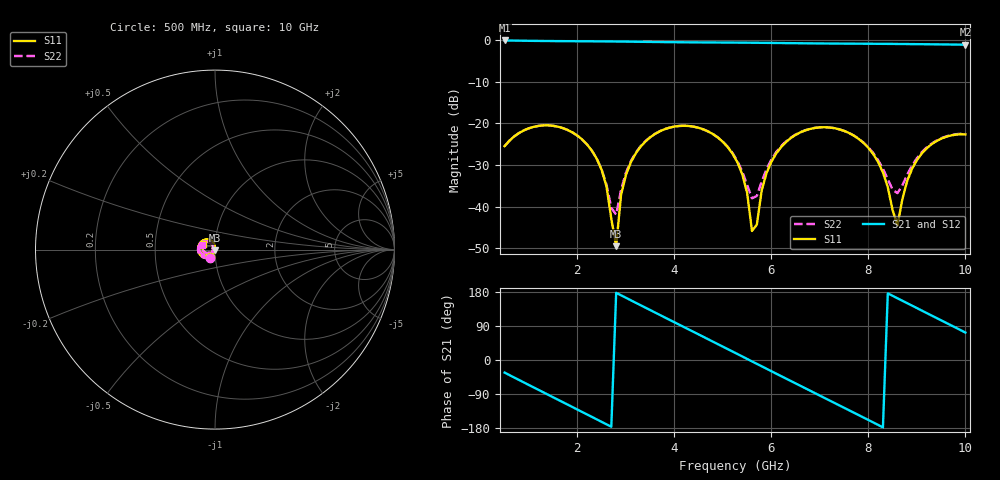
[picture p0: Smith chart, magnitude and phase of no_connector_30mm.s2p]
! Touchstone file exported from HFSS 3D Layout Design 2026.1.0
!  File:  D:/Work/ADS/HFSS_VERDICT/hfss_sma_connector_cpw.aedt
!  Generated:  07:53:57 PM Aug  5, 2026
!  Design:  IDEAL_50R_CPW_30MM
!  Project:  hfss_sma_connector_cpw
! Variables:
!  $sma_Base_D = 6.25mm
!  $sma_Base_L = 8mm
!  $sma_Feet_L = 4mm
!  $sma_Feet_W = 1mm
!  $sma_Front_L = 1.5mm
!  $sma_Front_W = 6.5mm
!  $sma_Hole_D = 1.25mm
!  $sma_PTFE_D = 4.2mm
!  $sma_Pin_D = 0.95mm
!  $sma_Pin_P = 1.7mm
# GHz S MA R 50.000000
! Terminal data exported
! Port[1] = Port1
! Port[2] = Port2
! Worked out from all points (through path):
!   96 points, 500 MHz to 10 GHz, reference 50 ohm
!   highest |S21| = -0.10 dB at 500 MHz (marker M1); lowest = -1.1 dB at 10 GHz (marker M2)
!   group delay of S21, straight-line fit = 179 ps
!   lowest |S11| = -49.5 dB at 2.8 GHz (marker M3), VSWR 1.01, Z = 49.9 - j0.321 ohm
!   |S11| at or under -10 dB: start of sweep to end of sweep
!   |S22| runs from -41.9 to -20.5 dB; largest |S21 - S12| = 1.6e-14
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0.5  0.0532 -124.8  0.9885 -33.2  0.9885 -33.2  0.05321 -123.5
1.3  0.09448 -179.3  0.9743 -85.4  0.9743 -85.4  0.09433 -175.6
2.1  0.06387 127.9  0.9667 -137.2  0.9667 -137.2  0.06366 136.2
2.5  0.02767 102.1  0.9633 -163.2  0.9633 -163.2  0.02799 119.2
2.8  0.003348 -105.8  0.9599 177.3  0.9599 177.3  0.008013 -155.8
2.9  0.01371 -106.9  0.9586 170.8  0.9586 170.8  0.01582 -126.9
3  0.0239 -112.7  0.9572 164.3  0.9572 164.3  0.02531 -122.9
3.7  0.0802 -157.5  0.9462 119.0  0.9462 119.0  0.0805 -154.7
4.5  0.08834 151.4  0.9369 67.5  0.9369 67.5  0.08825 159.2
5.3  0.03394 102.5  0.9312 15.8  0.9312 15.8  0.03514 123.1
5.5  0.01465 95.2  0.9294 2.8  0.9294 2.8  0.01822 132.2
5.6  0.005094 108.0  0.9284 -3.6  0.9284 -3.6  0.01257 157.3
6.1  0.04343 -136.1  0.922 -36.0  0.922 -36.0  0.04518 -140.5
6.9  0.08808 175.2  0.9111 -87.5  0.9111 -87.5  0.08832 -179.8
7.4  0.08472 144.5  0.9065 -119.7  0.9065 -119.7  0.08477 152.8
8  0.05068 109.6  0.9025 -158.3  0.9025 -158.3  0.05157 124.2
8.3  0.02574 97.1  0.9001 -177.7  0.9001 -177.7  0.02848 120.5
8.5  0.009045 110.4  0.8982 169.3  0.8982 169.3  0.01589 142.9
8.6  0.005966 174.9  0.8972 162.9  0.8972 162.9  0.01451 170.7
8.8  0.02033 -142.9  0.895 149.9  0.895 149.9  0.02414 -156.0
9.2  0.04996 -157.8  0.89 124.1  0.89 124.1  0.05124 -159.3
10  0.07359 157.1  0.879 72.4  0.879 72.4  0.07489 161.3
